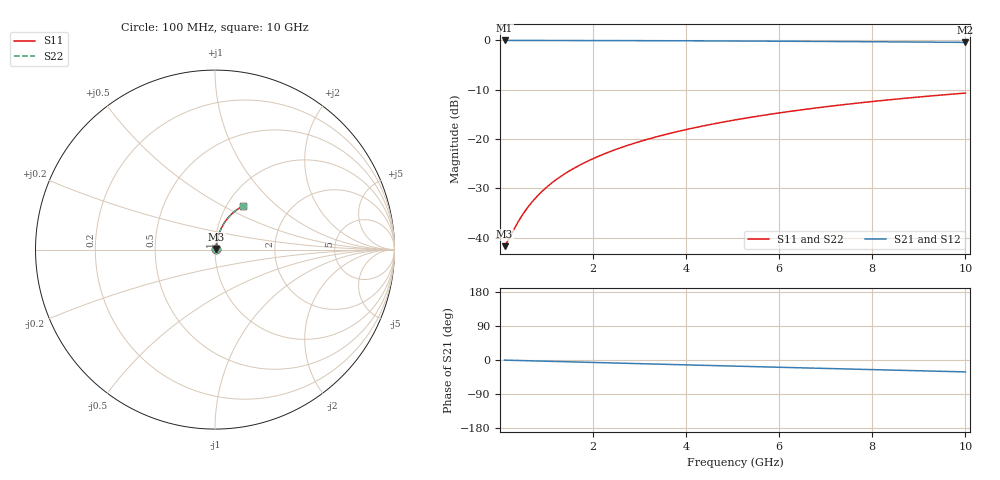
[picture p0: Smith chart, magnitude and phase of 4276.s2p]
# Hz S RI R 50.00
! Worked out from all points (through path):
!   100 points, 100 MHz to 10 GHz, reference 50 ohm
!   highest |S21| = -0.07 dB at 100 MHz (marker M1); lowest = -0.5 dB at 10 GHz (marker M2)
!   group delay of S21, straight-line fit = 8.74 ps
!   lowest |S11| = -41.7 dB at 100 MHz (marker M3), VSWR 1.02, Z = 50.8 + j0.315 ohm
!   |S11| at or under -10 dB: start of sweep to end of sweep
!   |S22| runs from -41.7 to -10.7 dB; largest |S21 - S12| = 0
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1e8  0.00761 0.0031  0.9924 -0.00558  0.9924 -0.00558  0.00761 0.0031
2e8  0.00771 0.0062  0.9923 -0.0112  0.9923 -0.0112  0.00771 0.0062
4e8  0.00798 0.0124  0.992 -0.0223  0.992 -0.0223  0.00798 0.0124
5e8  0.00816 0.0155  0.9917 -0.0279  0.9917 -0.0279  0.00816 0.0155
6e8  0.00838 0.0186  0.9915 -0.0335  0.9915 -0.0335  0.00838 0.0186
7e8  0.00862 0.0217  0.9912 -0.0391  0.9912 -0.0391  0.00862 0.0217
8e8  0.0089 0.0248  0.9909 -0.0446  0.9909 -0.0446  0.0089 0.0248
1e9  0.00956 0.0309  0.9901 -0.0557  0.9901 -0.0557  0.00956 0.0309
1.2e9  0.0104 0.037  0.9892 -0.0669  0.9892 -0.0669  0.0104 0.037
1.5e9  0.0118 0.0462  0.9875 -0.0835  0.9875 -0.0835  0.0118 0.0462
1.8e9  0.0135 0.0553  0.9854 -0.1001  0.9854 -0.1001  0.0135 0.0553
2.1e9  0.0156 0.0644  0.983 -0.1165  0.983 -0.1165  0.0156 0.0644
2.5e9  0.0188 0.0763  0.9792 -0.1384  0.9792 -0.1384  0.0188 0.0763
2.9e9  0.0225 0.088  0.9748 -0.1601  0.9748 -0.1601  0.0225 0.088
3.4e9  0.0279 0.1024  0.9685 -0.187  0.9685 -0.187  0.0279 0.1024
4.2e9  0.038 0.1246  0.9564 -0.2292  0.9564 -0.2292  0.038 0.1246
5.1e9  0.0517 0.1483  0.94 -0.2754  0.94 -0.2754  0.0517 0.1483
5.9e9  0.0657 0.168  0.9233 -0.3151  0.9233 -0.3151  0.0657 0.168
6.7e9  0.0812 0.1863  0.9045 -0.3534  0.9045 -0.3534  0.0812 0.1863
7.5e9  0.0982 0.203  0.8839 -0.3902  0.8839 -0.3902  0.0982 0.203
8.4e9  0.1187 0.2199  0.8588 -0.4297  0.8588 -0.4297  0.1187 0.2199
1e10  0.1581 0.2443  0.8097 -0.4946  0.8097 -0.4946  0.1581 0.2443
